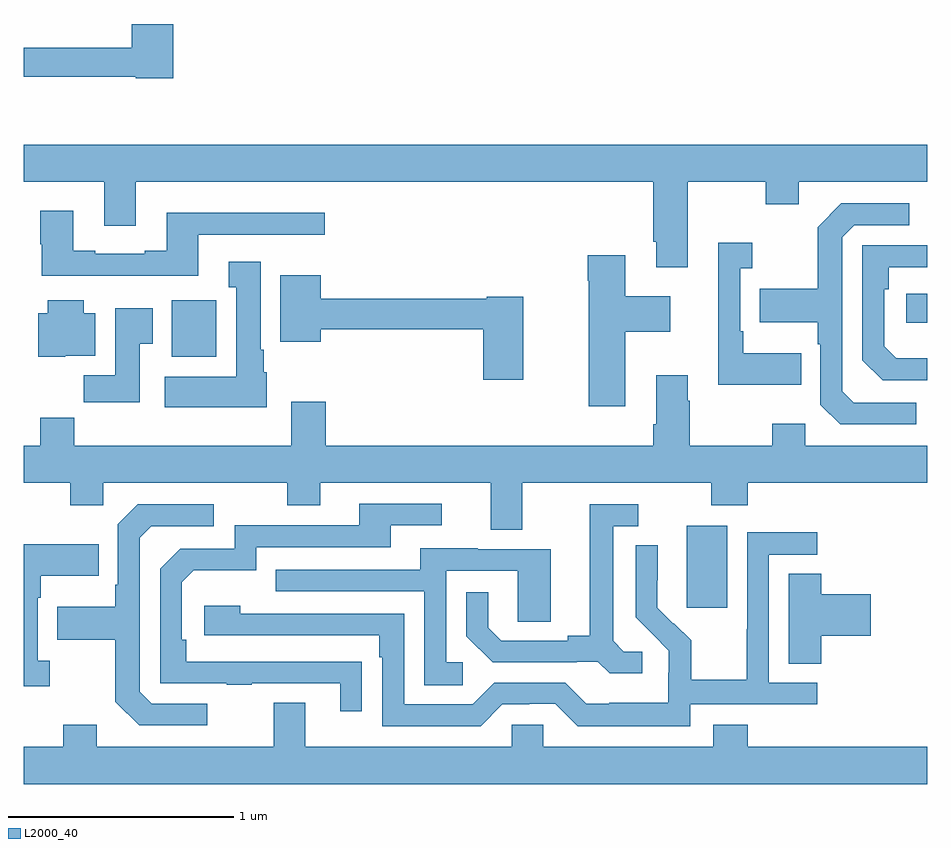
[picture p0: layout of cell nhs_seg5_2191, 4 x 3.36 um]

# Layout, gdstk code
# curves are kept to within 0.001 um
import gdstk
lib = gdstk.Library(unit=1e-6, precision=1e-09)
def R(c, l, rs):  # rectangles x0, y0, x1, y1
    for r in rs: c.add(gdstk.rectangle(r[:2], r[2:], *l))
def P(c, l, *ps):  # polygons
    for p in ps: c.add(gdstk.Polygon(p, *l))
L2000_40 = (2000, 40)

nhs_seg5_2191 = lib.new_cell('nhs_seg5_2191')
R(nhs_seg5_2191, L2000_40, [(241.934,848.217,242.113,848.578), (239.657,849.326,239.853,849.577), (242.907,849.476,243,849.606)])
P(nhs_seg5_2191, L2000_40, [(239.663,850.799),(239.48,850.799),(239.48,850.694),(239,850.694),(239,850.566),(239.496,850.566),(239.496,850.558),(239.663,850.558)],
  [(241.939,850.1),(242.284,850.1),(242.284,850.001),(242.431,850.001),(242.431,850.1),(243,850.1),(243,850.264),(239,850.264),(239,850.1),(239.357,850.1),(239.357,849.906),(239.497,849.906),(239.497,850.1),(241.787,850.1),(241.787,849.835),(241.799,849.835),(241.799,849.723),(241.939,849.723)],
  [(242.95,849.123),(242.673,849.123),(242.622,849.174),(242.622,849.855),(242.676,849.909),(242.92,849.909),(242.92,850.005),(242.619,850.005),(242.514,849.899),(242.514,849.627),(242.257,849.627),(242.257,849.479),(242.514,849.479),(242.514,849.383),(242.526,849.383),(242.526,849.114),(242.613,849.027),(242.95,849.027)],
  [(239.773,849.867),(240.334,849.867),(240.334,849.964),(239.633,849.964),(239.633,849.796),(239.537,849.796),(239.537,849.783),(239.317,849.783),(239.317,849.796),(239.221,849.796),(239.221,849.973),(239.074,849.973),(239.074,849.825),(239.081,849.825),(239.081,849.686),(239.773,849.686)],
  [(242.441,849.343),(242.185,849.343),(242.185,849.439),(242.172,849.439),(242.172,849.719),(242.224,849.719),(242.224,849.832),(242.075,849.832),(242.075,849.203),(242.441,849.203)],
  [(243,849.319),(242.861,849.319),(242.808,849.372),(242.808,849.626),(242.828,849.626),(242.828,849.723),(243,849.723),(243,849.819),(242.712,849.819),(242.712,849.312),(242.802,849.222),(243,849.222)],
  [(241.663,849.437),(241.861,849.437),(241.861,849.595),(241.663,849.595),(241.663,849.775),(241.496,849.775),(241.496,849.662),(241.501,849.662),(241.501,849.108),(241.663,849.108)],
  [(240.076,849.258),(240.064,849.258),(240.064,849.358),(240.049,849.358),(240.049,849.748),(239.909,849.748),(239.909,849.635),(239.942,849.635),(239.942,849.238),(239.625,849.238),(239.625,849.104),(240.076,849.104)],
  [(241.212,849.592),(241.05,849.592),(241.05,849.584),(240.316,849.584),(240.316,849.688),(240.137,849.688),(240.137,849.392),(240.316,849.392),(240.316,849.448),(241.034,849.448),(241.034,849.225),(241.212,849.225)],
  [(239.184,849.332),(239.317,849.332),(239.317,849.52),(239.266,849.52),(239.266,849.577),(239.108,849.577),(239.108,849.52),(239.066,849.52),(239.066,849.326),(239.184,849.326)],
  [(239.515,849.385),(239.572,849.385),(239.572,849.541),(239.405,849.541),(239.405,849.244),(239.266,849.244),(239.266,849.126),(239.515,849.126)],
  [(241.207,848.768),(242.044,848.768),(242.044,848.669),(242.204,848.669),(242.204,848.768),(243,848.768),(243,848.932),(242.46,848.932),(242.46,849.031),(242.314,849.031),(242.314,848.932),(241.947,848.932),(241.947,849.131),(241.939,849.131),(241.939,849.244),(241.799,849.244),(241.799,849.028),(241.787,849.028),(241.787,848.932),(240.338,848.932),(240.338,849.127),(240.185,849.127),(240.185,848.932),(239.225,848.932),(239.225,849.056),(239.074,849.056),(239.074,848.932),(239,848.932),(239,848.768),(239.206,848.768),(239.206,848.669),(239.352,848.669),(239.352,848.768),(240.166,848.768),(240.166,848.669),(240.313,848.669),(240.313,848.768),(241.067,848.768),(241.067,848.56),(241.207,848.56)],
  [(240.497,847.976),(239.72,847.977),(239.72,848.074),(239.7,848.074),(239.7,848.328),(239.753,848.381),(240.03,848.381),(240.03,848.484),(240.625,848.484),(240.625,848.58),(240.85,848.58),(240.85,848.676),(240.485,848.676),(240.485,848.58),(239.934,848.58),(239.934,848.478),(239.694,848.478),(239.604,848.388),(239.604,847.881),(239.899,847.881),(239.899,847.876),(240.011,847.876),(240.011,847.881),(240.401,847.881),(240.401,847.758),(240.497,847.758)],
  [(241.738,848.022),(241.656,848.022),(241.609,848.069),(241.609,848.577),(241.72,848.577),(241.72,848.673),(241.505,848.673),(241.505,848.093),(241.409,848.093),(241.409,848.07),(241.114,848.07),(241.057,848.127),(241.057,848.284),(240.96,848.284),(240.96,848.09),(241.076,847.974),(241.448,847.974),(241.448,847.977),(241.542,847.977),(241.594,847.925),(241.738,847.925)],
  [(239.812,847.791),(239.568,847.791),(239.514,847.845),(239.514,848.526),(239.565,848.577),(239.842,848.577),(239.842,848.673),(239.505,848.673),(239.418,848.586),(239.418,848.317),(239.406,848.317),(239.406,848.221),(239.149,848.221),(239.149,848.074),(239.406,848.074),(239.406,847.801),(239.511,847.695),(239.812,847.695)],
  [(241.95,847.788),(242.512,847.788),(242.512,847.884),(242.298,847.884),(242.298,848.451),(242.512,848.451),(242.512,848.55),(242.202,848.55),(242.202,848.12),(242.2,848.12),(242.2,847.897),(241.955,847.897),(241.955,848.071),(241.878,848.148),(241.875,848.145),(241.805,848.216),(241.806,848.492),(241.71,848.492),(241.71,848.174),(241.856,848.026),(241.856,847.929),(241.854,847.929),(241.854,847.795),(241.591,847.795),(241.591,847.791),(241.491,847.791),(241.398,847.884),(241.083,847.884),(240.987,847.788),(240.684,847.788),(240.684,848.19),(239.96,848.19),(239.96,848.224),(239.799,848.224),(239.799,848.094),(240.575,848.094),(240.575,847.997),(240.588,847.997),(240.588,847.692),(241.023,847.692),(241.119,847.788),(241.238,847.788),(241.238,847.791),(241.353,847.791),(241.453,847.691),(241.95,847.691)],
  [(239.116,847.982),(239.064,847.982),(239.064,848.261),(239.077,848.261),(239.077,848.357),(239.333,848.357),(239.333,848.497),(239,848.497),(239,847.869),(239.116,847.869)],
  [(240.943,847.974),(240.87,847.974),(240.87,848.379),(241.188,848.379),(241.188,848.155),(241.333,848.155),(241.333,848.475),(241.009,848.475),(241.009,848.479),(240.755,848.479),(240.755,848.385),(240.115,848.385),(240.115,848.289),(240.774,848.289),(240.774,847.873),(240.943,847.873)],
  [(242.531,848.093),(242.749,848.093),(242.749,848.276),(242.531,848.276),(242.531,848.366),(242.387,848.366),(242.387,847.969),(242.531,847.969)],
  [(243,847.6),(242.204,847.6),(242.204,847.699),(242.051,847.699),(242.051,847.6),(241.299,847.6),(241.299,847.698),(241.161,847.698),(241.161,847.6),(240.247,847.6),(240.247,847.795),(240.107,847.795),(240.107,847.6),(239.323,847.6),(239.323,847.699),(239.176,847.699),(239.176,847.6),(239,847.6),(239,847.436),(243,847.436)])

lib.write_gds('nhs_seg5_2191.gds')
